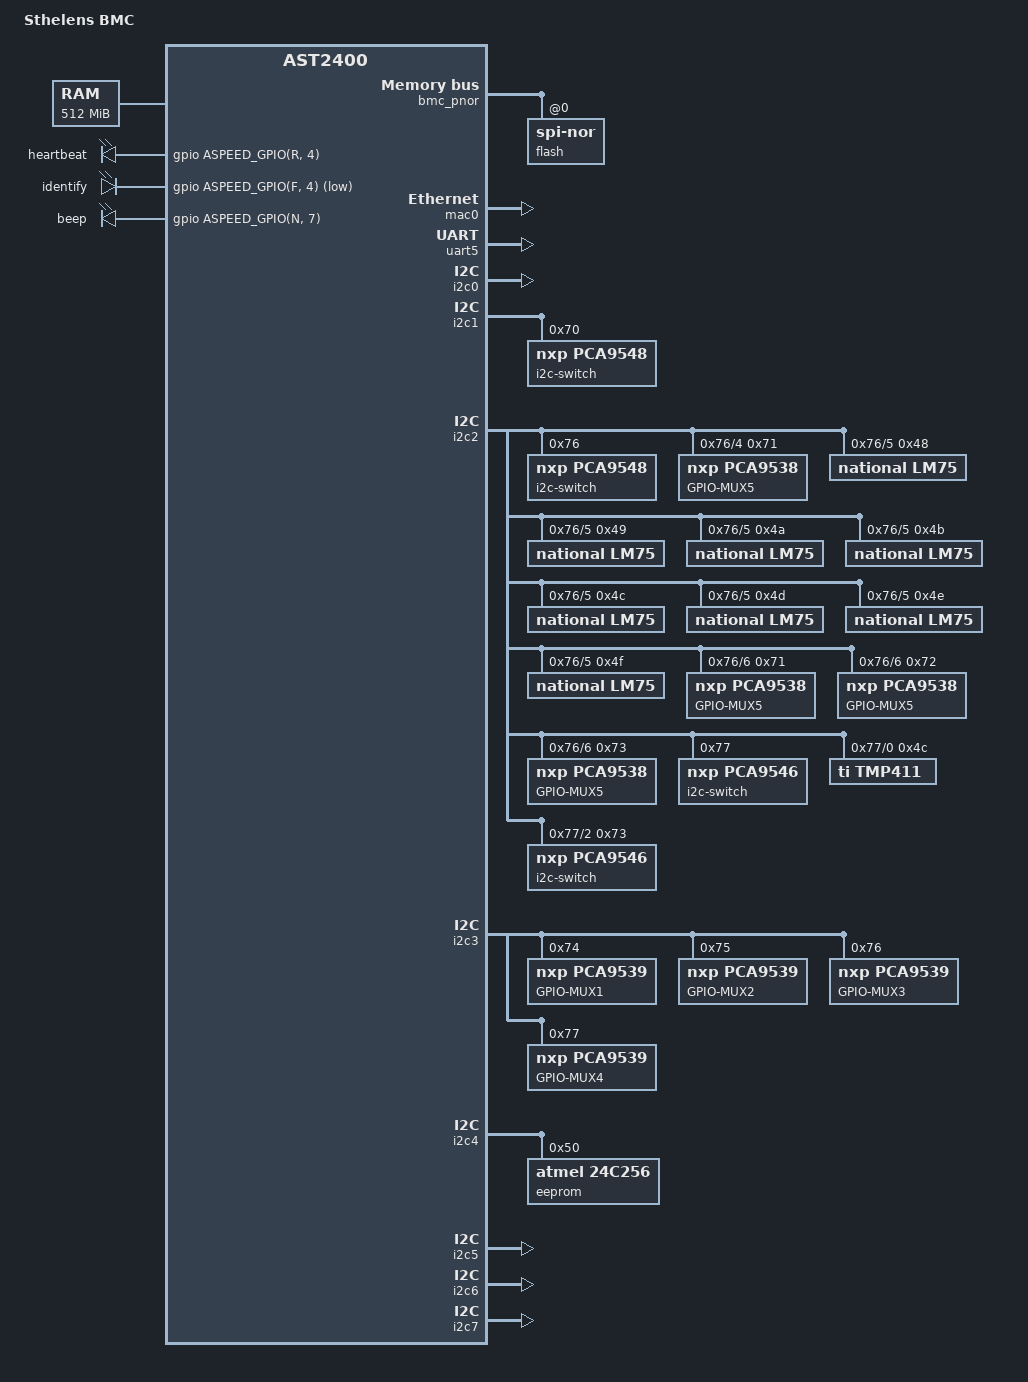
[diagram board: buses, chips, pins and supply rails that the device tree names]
/dts-v1/;

#include "aspeed-g4.dtsi"
#include <dt-bindings/gpio/aspeed-gpio.h>

/ {
	model = "Sthelens BMC";
	compatible = "ms,sthelens-bmc", "aspeed,ast2400";

	aliases {
		serial4 = &uart5;
	};

	chosen {
		stdout-path = &uart5;
		bootargs = "console=ttyS4,38400 earlyprintk";
	};

	memory {
		reg = <0x40000000 0x20000000>;
	};

	reserved-memory {
		#address-cells = <1>;
		#size-cells = <1>;
		ranges;

		vga_memory: framebuffer@5f000000 {
			no-map;
			reg = <0x5f000000 0x01000000>; /* 16MB */
		};
	};

	ahb {
		bmc_pnor: fmc@1e620000 {
			reg = < 0x1e620000 0x94
				0x20000000 0x02000000 >;
			#address-cells = <1>;
			#size-cells = <0>;
			compatible = "aspeed,ast2400-fmc";
			flash@0 {
				reg = < 0 >;
				compatible = "jedec,spi-nor" ;
#include "aspeed-bmc-opp-flash-layout.dtsi"
			};

		};
	};

	leds {
		compatible = "gpio-leds";

		heartbeat {
			gpios = <&gpio ASPEED_GPIO(R, 4) GPIO_ACTIVE_HIGH>;
		};
		identify {
			gpios = <&gpio ASPEED_GPIO(F, 4) GPIO_ACTIVE_LOW>;
		};
		beep {
			gpios = <&gpio ASPEED_GPIO(N, 7) GPIO_ACTIVE_HIGH>;
		};
	};
};

&mac0 {
	status = "okay";
};

&uart5 {
	status = "okay";
};

&i2c0{
	status = "okay";
};
&i2c1{
	status = "okay";
	i2c-switch@70 {
			compatible = "nxp,pca9548";
			reg = <0x70>;
	};

};
&i2c2{
	status = "okay";
	i2c-switch@76 {
			compatible = "nxp,pca9548";
			reg = <0x76>;
			i2c@0 {
        			reg = <0x00>;
			};
			i2c@1 {
        			reg = <0x01>;
        	};
			i2c@2 {
        			reg = <0x02>;
			};
			i2c@3 {
        			reg = <0x03>;
        	};
			i2c@4 {
        			reg = <0x04>;
					GPIO-MUX5@71 {
						compatible = "nxp,pca9538";
						reg = <0x71>;
					};
			};
			i2c@5 {
        			reg = <0x05>;
        			lm75@48 {
	              		compatible = "national,lm75";
	               		reg = <0x48>;
        			};
					lm75@49 {
						compatible = "national,lm75";
						reg = <0x49>;
					};
					lm75@4a {
						compatible = "national,lm75";
						reg = <0x4a>;
					};
					lm75@4b {
						compatible = "national,lm75";
						reg = <0x4b>;
					};
					lm75@4c {
						compatible = "national,lm75";
						reg = <0x4c>;
					};
					lm75@4d {
						compatible = "national,lm75";
						reg = <0x4d>;
					};
					lm75@4e {
						compatible = "national,lm75";
						reg = <0x4e>;
					};
					lm75@4f {
						compatible = "national,lm75";
						reg = <0x4f>;
					};
			};
			i2c@6 {
        			reg = <0x06>;
					GPIO-MUX5@71 {
					compatible = "nxp,pca9538";
					reg = <0x71>;
					};
					GPIO-MUX5@72 {
					compatible = "nxp,pca9538";
					reg = <0x72>;
					};
					GPIO-MUX5@73 {
					compatible = "nxp,pca9538";
					reg = <0x73>;
					};
			};
			i2c@7 {
        			reg = <0x07>;
			};
	};
	i2c-switch@77 {
			compatible = "nxp,pca9546";
			reg = <0x77>;
                        i2c@0 {
                                reg = <0x0>;
                                tmp411@4c {
                                          compatible = "ti,tmp411";
                                          reg = <0x4c>;
                                };
                        };
			i2c@1 {
        			#address-cells = <1>;
        			#size-cells = <0>;
        			reg = <0x01>;

			/* PCAL9538 */
			};
                        i2c@2 {
                                reg = <0x2>;
                                i2c-switch@73 {
                                    /* M.2 mux switch */
                                    compatible = "nxp,pca9546";
                                    reg = <0x73>;
                                    i2c@0 {
                                            reg = <0x0>;
                                    };
                                    i2c@1 {
                                            reg = <0x1>;
                                    };
                                    i2c@2 {
                                            reg = <0x2>;
                                    };
                                    i2c@3 {
                                            reg = <0x3>;
                                    };
                                };
                        };
			i2c@3 {
        			#address-cells = <1>;
        			#size-cells = <0>;
        			reg = <0x3>;

			/* PCAL9538 x 3 */
			};
	};	
};
&i2c3{
	status = "okay";
	GPIO-MUX1@74 {
		compatible = "nxp,pca9539";
		reg = <0x74>;
	};
	GPIO-MUX2@75 {
		compatible = "nxp,pca9539";
		reg = <0x75>;
	};
	GPIO-MUX3@76 {
		compatible = "nxp,pca9539";
		reg = <0x76>;
	};
	GPIO-MUX4@77 {
		compatible = "nxp,pca9539";
		reg = <0x77>;
	};
};
&i2c4{
	status = "okay";
    eeprom@50 {
        compatible = "atmel,24c256";
        reg = <0x50>;
        pagesize = <64>;
    };
};
&i2c5{
	status = "okay";
};
&i2c6{
	status = "okay";
};
&i2c7{
	status = "okay";
};
